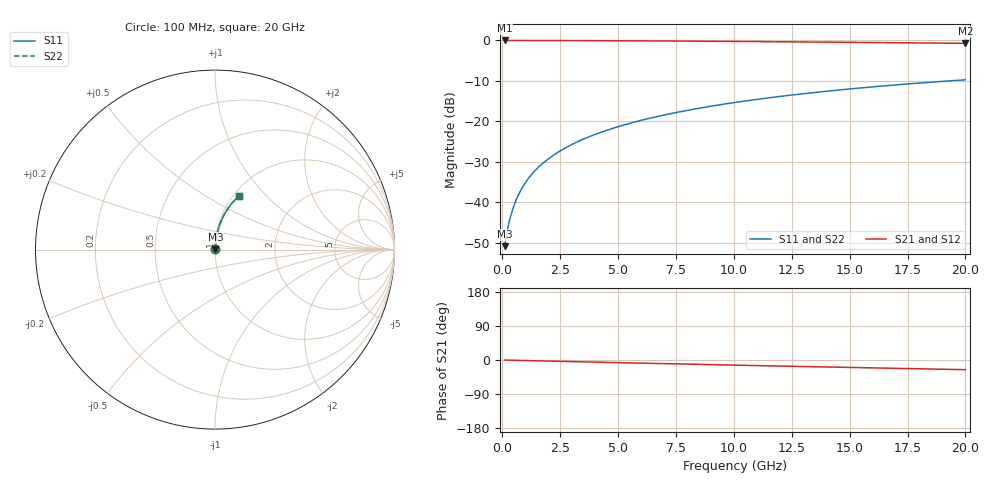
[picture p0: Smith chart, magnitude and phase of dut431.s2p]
! Touchstone file exported from HFSS 2024.1.0
!  File:  C:/UserFiles/LocalFiles/RDL_TSV_Batchsim/temp_RDL_bottom_431_1779684226.aedt
!  Generated:  12:46:42 PM May 25, 2026
!  Design:  RDL_bottom
!  Project:  temp_RDL_bottom_431_1779684226
!  Setup:  Setup1
!  Solution:  Sweep
! Variables:
!  dtsv = 10.80580581um
!  hbump = 3um
!  htsv = 77.7um
!  ldown = 290.17um
!  lrdl = 100um
!  p = 40
!  p1 = 49.14um
!  rhole = 1um
!  t = 450um
!  tdown = 4.41um
!  trdl = 3.915915916um
!  wdown = 10.63um
!  wrdl = 20um
# GHz S MA R 50.000000
! Terminal data exported
! Port[1] = RDL1_T1
! Port[2] = RDL1_T2
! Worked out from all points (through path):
!   200 points, 100 MHz to 20 GHz, reference 50 ohm
!   highest |S21| = -0.02 dB at 100 MHz (marker M1); lowest = -0.7 dB at 20 GHz (marker M2)
!   group delay of S21, straight-line fit = 3.53 ps
!   lowest |S11| = -50.8 dB at 100 MHz (marker M3), VSWR 1.01, Z = 50.2 + j0.178 ohm
!   |S11| at or under -10 dB: start of sweep to 19.3 GHz
!   |S22| runs from -50.8 to -9.7 dB; largest |S21 - S12| = 3.2e-15
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0.1  0.002887 37.9  0.9977 -0.1  0.9977 -0.1  0.002887 37.9
! Gamma 0 0 0 0
! Port Impedance 50 0 50 0
0.2  0.004224 56.7  0.9977 -0.3  0.9977 -0.3  0.004224 56.7
0.3  0.005783 65.8  0.9976 -0.4  0.9976 -0.4  0.005783 65.8
0.4  0.007416 70.9  0.9976 -0.6  0.9976 -0.6  0.007416 70.9
0.5  0.009079 74.1  0.9975 -0.7  0.9975 -0.7  0.009079 74.1
0.6  0.01076 76.3  0.9975 -0.9  0.9975 -0.9  0.01076 76.3
0.8  0.01414 79.1  0.9973 -1.1  0.9973 -1.1  0.01414 79.1
1.1  0.01926 81.3  0.9971 -1.6  0.9971 -1.6  0.01926 81.3
1.5  0.02611 82.7  0.9967 -2.1  0.9967 -2.1  0.02611 82.7
1.8  0.03126 83.3  0.9963 -2.5  0.9963 -2.5  0.03126 83.3
2.1  0.03641 83.5  0.9959 -3.0  0.9959 -3.0  0.03641 83.5
2.7  0.04672 83.7  0.995 -3.8  0.995 -3.8  0.04672 83.7
3.5  0.06044 83.4  0.9934 -4.9  0.9934 -4.9  0.06044 83.4
4.2  0.07242 83.0  0.9917 -5.9  0.9917 -5.9  0.07242 83.0
5  0.08609 82.4  0.9895 -7.0  0.9895 -7.0  0.08609 82.4
5.9  0.1014 81.6  0.9867 -8.2  0.9867 -8.2  0.1014 81.6
6.8  0.1167 80.7  0.9836 -9.4  0.9836 -9.4  0.1167 80.7
8.3  0.1421 79.2  0.978 -11.3  0.978 -11.3  0.1421 79.2
10.1  0.1722 77.2  0.9705 -13.6  0.9705 -13.6  0.1722 77.2
13.4  0.226 73.5  0.955 -17.7  0.955 -17.7  0.2261 73.5
16.7  0.2776 69.7  0.9379 -21.7  0.9379 -21.7  0.2777 69.7
20  0.3264 66.0  0.9193 -25.5  0.9193 -25.5  0.3264 66.0
